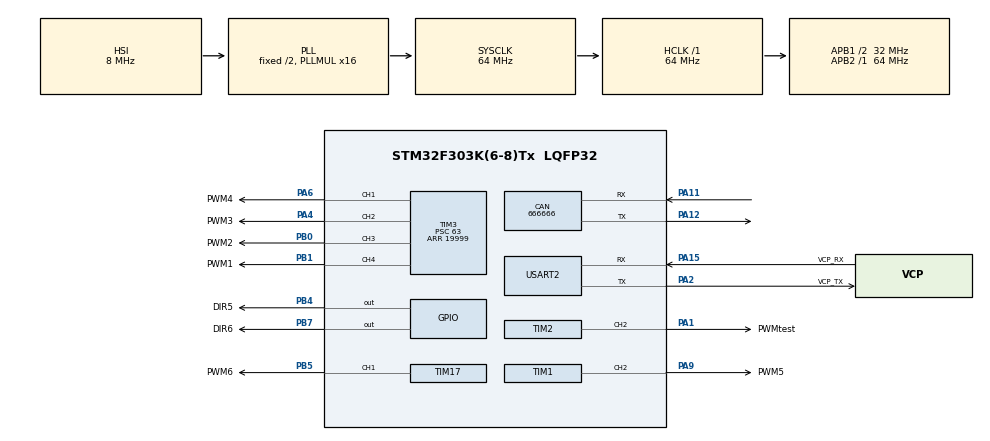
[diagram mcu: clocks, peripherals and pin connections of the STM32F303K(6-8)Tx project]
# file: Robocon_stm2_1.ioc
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CAN.CalculateBaudRate=666666
CAN.CalculateTimeBit=1500
CAN.CalculateTimeQuantum=500.0
Mcu.Family=STM32F3
Mcu.Name=STM32F303K(6-8)Tx
Mcu.Package=LQFP32
NVIC.PriorityGroup=NVIC_PRIORITYGROUP_4
PA1.GPIO_Label=PWMtest
PA1.Signal=S_TIM2_CH2
PA11.Mode=CAN_Activate
PA11.Signal=CAN_RX
PA12.Mode=CAN_Activate
PA12.Signal=CAN_TX
PA13.GPIO_Label=SWDIO
PA13.Mode=Serial_Wire
PA13.Signal=SYS_JTMS-SWDIO
PA14.GPIO_Label=SWCLK
PA14.Mode=Serial_Wire
PA14.Signal=SYS_JTCK-SWCLK
PA15.GPIO_Label=VCP_RX
PA15.Mode=Asynchronous
PA15.Signal=USART2_RX
PA2.GPIO_Label=VCP_TX
PA2.Mode=Asynchronous
PA2.Signal=USART2_TX
PA4.GPIO_Label=PWM3
PA4.Signal=S_TIM3_CH2
PA6.GPIO_Label=PWM4
PA6.Signal=S_TIM3_CH1
PA9.GPIO_Label=PWM5
PA9.Signal=S_TIM1_CH2
PB0.GPIO_Label=PWM2
PB0.Signal=S_TIM3_CH3
PB1.GPIO_Label=PWM1
PB1.Signal=S_TIM3_CH4
PB4.GPIO_Label=DIR5
PB4.Signal=GPIO_Output
PB5.GPIO_Label=PWM6
PB5.Signal=S_TIM17_CH1
PB7.GPIO_Label=DIR6
PB7.Signal=GPIO_Output
PF0\ /\ OSC_IN.GPIO_Label=MCO
PF0\ /\ OSC_IN.Mode=HSE-External-Oscillator
PF0\ /\ OSC_IN.Signal=RCC_OSC_IN
PF1\ /\ OSC_OUT.Mode=HSE-External-Oscillator
PF1\ /\ OSC_OUT.Signal=RCC_OSC_OUT
ProjectManager.HeapSize=0x200
ProjectManager.StackSize=0x400
ProjectManager.TargetToolchain=STM32CubeIDE
RCC.AHBFreq_Value=64000000
RCC.APB1CLKDivider=RCC_HCLK_DIV2
RCC.APB1Freq_Value=32000000
RCC.APB1TimFreq_Value=64000000
RCC.APB2Freq_Value=64000000
RCC.APB2TimFreq_Value=64000000
RCC.CortexFreq_Value=64000000
RCC.HCLKFreq_Value=64000000
RCC.HSE_VALUE=8000000
RCC.HSI_VALUE=8000000
RCC.PLLMUL=RCC_PLL_MUL16
RCC.SYSCLKFreq_VALUE=64000000
RCC.SYSCLKSourceVirtual=RCC_SYSCLKSOURCE_PLLCLK
SH.S_TIM17_CH1.0=TIM17_CH1,PWM Generation1 CH1
SH.S_TIM1_CH2.0=TIM1_CH2,PWM Generation2 CH2
SH.S_TIM2_CH2.0=TIM2_CH2,PWM Generation2 CH2
SH.S_TIM3_CH1.0=TIM3_CH1,PWM Generation1 CH1
SH.S_TIM3_CH2.0=TIM3_CH2,PWM Generation2 CH2
SH.S_TIM3_CH3.0=TIM3_CH3,PWM Generation3 CH3
SH.S_TIM3_CH4.0=TIM3_CH4,PWM Generation4 CH4
TIM1.Channel-PWM\ Generation2\ CH2=TIM_CHANNEL_2
TIM1.Period=19999
TIM1.Prescaler=63
TIM17.Channel=TIM_CHANNEL_1
TIM17.Period=19999
TIM17.Prescaler=63
TIM2.Channel-PWM\ Generation2\ CH2=TIM_CHANNEL_2
TIM2.Period=19999
TIM2.Prescaler=63
TIM3.Channel-PWM\ Generation1\ CH1=TIM_CHANNEL_1
TIM3.Channel-PWM\ Generation2\ CH2=TIM_CHANNEL_2
TIM3.Channel-PWM\ Generation3\ CH3=TIM_CHANNEL_3
TIM3.Channel-PWM\ Generation4\ CH4=TIM_CHANNEL_4
TIM3.Period=19999
TIM3.Prescaler=63
USART2.VirtualMode-Asynchronous=VM_ASYNC
VP_TIM17_VS_ClockSourceINT.Mode=Enable_Timer
VP_TIM1_VS_ClockSourceINT.Mode=Internal
VP_TIM2_VS_ClockSourceINT.Mode=Internal
VP_TIM3_VS_ClockSourceINT.Mode=Internal
board=NUCLEO-F303K8

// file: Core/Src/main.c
/* USER CODE BEGIN Header */
/**
  ******************************************************************************
  * @file           : main.c
  * @brief          : Main program body
  ******************************************************************************
  * @attention
  *
  * Copyright (c) 2025 STMicroelectronics.
  * All rights reserved.
  *
  * This software is licensed under terms that can be found in the LICENSE file
  * in the root directory of this software component.
  * If no LICENSE file comes with this software, it is provided AS-IS.
  *
  ******************************************************************************
  */
/* USER CODE END Header */
#include "main.h"

CAN_HandleTypeDef hcan;

TIM_HandleTypeDef htim1;
TIM_HandleTypeDef htim2;
TIM_HandleTypeDef htim3;
TIM_HandleTypeDef htim17;

UART_HandleTypeDef huart2;

void SystemClock_Config(void);
static void MX_GPIO_Init(void);
static void MX_USART2_UART_Init(void);
static void MX_CAN_Init(void);
static void MX_TIM1_Init(void);
static void MX_TIM2_Init(void);
static void MX_TIM3_Init(void);
static void MX_TIM17_Init(void);

/* USER CODE BEGIN 0 */
int use_data[8];
int id;
void HAL_CAN_RxFifo0MsgPendingCallback(CAN_HandleTypeDef *hcan) {
	CAN_RxHeaderTypeDef RxHeader;//受信メッセージの情報が格納されるインスタンス
	uint8_t RxData[8];//受信したデータを一時保存する配列
	if (HAL_CAN_GetRxMessage(hcan, CAN_RX_FIFO0, &RxHeader, RxData)== HAL_OK) {
		id = RxHeader.StdId; // RxHeaderの中に入っているidを取り出す
		if (id == 0x001){
			for (int i = 0; i <= 7; i++){
    				use_data[i] = RxData[i];
			}
		}
	}
}

int _write(int file, char *ptr, int len)
  {
      HAL_UART_Transmit(&huart2, (uint8_t*)ptr, len, HAL_MAX_DELAY);
      return len;
  }

/* USER CODE END 0 */

int main(void)
{

  /* MCU Configuration--------------------------------------------------------*/

  /* Reset of all peripherals, Initializes the Flash interface and the Systick. */
  HAL_Init();

  /* Configure the system clock */
  SystemClock_Config();

  /* Initialize all configured peripherals */
  MX_GPIO_Init();
  MX_USART2_UART_Init();
  MX_CAN_Init();
  MX_TIM1_Init();
  MX_TIM2_Init();
  MX_TIM3_Init();
  MX_TIM17_Init();
  /* USER CODE BEGIN 2 */
	// CANスタート
	HAL_CAN_Start(&hcan);
	// 割り込み有効
	HAL_CAN_ActivateNotification(&hcan, CAN_IT_RX_FIFO0_MSG_PENDING);
  /* USER CODE END 2 */

  /* Infinite loop */
  while (1)
  {

    /* USER CODE BEGIN 3 */
	  /*
	  __HAL_TIM_SET_COMPARE(&htim1,TIM_CHANNEL_2,500);//PWM5
	  HAL_Delay(2000);
	  __HAL_TIM_SET_COMPARE(&htim1,TIM_CHANNEL_2,2200);
	  HAL_Delay(2000);
	  __HAL_TIM_SET_COMPARE(&htim2,TIM_CHANNEL_2,500);//PWM test
	  HAL_Delay(2000);
	  __HAL_TIM_SET_COMPARE(&htim2,TIM_CHANNEL_2,2200);
	  HAL_Delay(2000);
	  __HAL_TIM_SET_COMPARE(&htim3,TIM_CHANNEL_1,500);//PWM4
	  HAL_Delay(2000);
	  __HAL_TIM_SET_COMPARE(&htim3,TIM_CHANNEL_1,2200);
	  HAL_Delay(2000);
	  __HAL_TIM_SET_COMPARE(&htim3,TIM_CHANNEL_2,500);//PWM3
	  HAL_Delay(2000);
	  __HAL_TIM_SET_COMPARE(&htim3,TIM_CHANNEL_2,2200);
	  HAL_Delay(2000);
	  __HAL_TIM_SET_COMPARE(&htim3,TIM_CHANNEL_3,500);//PWM2
	  HAL_Delay(2000);
	  __HAL_TIM_SET_COMPARE(&htim3,TIM_CHANNEL_3,2200);
	  HAL_Delay(2000);
	  __HAL_TIM_SET_COMPARE(&htim3,TIM_CHANNEL_4,500);//PWM1
	  HAL_Delay(2000);
	  __HAL_TIM_SET_COMPARE(&htim3,TIM_CHANNEL_4,2200);
	  HAL_Delay(2000);
	  __HAL_TIM_SET_COMPARE(&htim17,TIM_CHANNEL_1,500);//PWM6
	  HAL_Delay(2000);
	  __HAL_TIM_SET_COMPARE(&htim17,TIM_CHANNEL_1,2200);
	  HAL_Delay(2000);
	  */
  }
     void HAL_CAN_RxFifo0MsgPendingCallback(CAN_HandleTypeDef *hcan);
     printf("CAN Receiver\r\n");
     //CAN_TX(0x12);
     printf("%d\r\n",use_data[0]);
     printf("%d\r\n",use_data[1]);
     printf("%d\r\n",use_data[2]);
     printf("%d\r\n",use_data[3]);
     printf("%d\r\n",use_data[4]);
     printf("%d\r\n",use_data[5]);
     printf("%d\r\n",use_data[6]);
     printf("%d\r\n",use_data[7]);

     HAL_Delay(500);

     if(use_data[0] = 1){
       __HAL_TIM_SET_COMPARE(&htim1,TIM_CHANNEL_2,500);//PWM5
       HAL_Delay(2000);
       __HAL_TIM_SET_COMPARE(&htim1,TIM_CHANNEL_2,2200);
       HAL_Delay(2000);
     }

     if(use_data[1] = 1){
    	 __HAL_TIM_SET_COMPARE(&htim2,TIM_CHANNEL_2,500);//PWM test
    	 HAL_Delay(2000);
    	 __HAL_TIM_SET_COMPARE(&htim2,TIM_CHANNEL_2,2200);
    	 HAL_Delay(2000);
     }

     if(use_data[2] = 1){
    	 __HAL_TIM_SET_COMPARE(&htim3,TIM_CHANNEL_1,500);//PWM4
    	 HAL_Delay(2000);
    	 __HAL_TIM_SET_COMPARE(&htim3,TIM_CHANNEL_1,2200);
    	 HAL_Delay(2000);
     }

     if(use_data[3] = 1){
    	 __HAL_TIM_SET_COMPARE(&htim3,TIM_CHANNEL_2,500);//PWM3
         HAL_Delay(2000);
    	 __HAL_TIM_SET_COMPARE(&htim3,TIM_CHANNEL_2,2200);
    	 HAL_Delay(2000);
     }

     if(use_data[4] = 1){
    	 __HAL_TIM_SET_COMPARE(&htim3,TIM_CHANNEL_3,500);//PWM2
    	 HAL_Delay(2000);
         __HAL_TIM_SET_COMPARE(&htim3,TIM_CHANNEL_3,2200);
    	 HAL_Delay(2000);
     }

     if(use_data[5] = 1){
    	 __HAL_TIM_SET_COMPARE(&htim3,TIM_CHANNEL_4,500);//PWM1
    	HAL_Delay(2000);
    	 __HAL_TIM_SET_COMPARE(&htim3,TIM_CHANNEL_4,2200);
        HAL_Delay(2000);
     }

     if(use_data[6] = 1){
    	 __HAL_TIM_SET_COMPARE(&htim17,TIM_CHANNEL_1,500);//PWM6
    	 HAL_Delay(2000);
    	 __HAL_TIM_SET_COMPARE(&htim17,TIM_CHANNEL_1,2200);
    	 HAL_Delay(2000);
     }
    	    /* USER CODE BEGIN 3 */

     }

  /* USER CODE END 3 */
}

void SystemClock_Config(void)
{
  RCC_OscInitTypeDef RCC_OscInitStruct = {0};
  RCC_ClkInitTypeDef RCC_ClkInitStruct = {0};
  RCC_PeriphCLKInitTypeDef PeriphClkInit = {0};

  /** Initializes the RCC Oscillators according to the specified parameters
  * in the RCC_OscInitTypeDef structure.
  */
  RCC_OscInitStruct.OscillatorType = RCC_OSCILLATORTYPE_HSI;
  RCC_OscInitStruct.HSIState = RCC_HSI_ON;
  RCC_OscInitStruct.HSICalibrationValue = RCC_HSICALIBRATION_DEFAULT;
  RCC_OscInitStruct.PLL.PLLState = RCC_PLL_ON;
  RCC_OscInitStruct.PLL.PLLSource = RCC_PLLSOURCE_HSI;
  RCC_OscInitStruct.PLL.PLLMUL = RCC_PLL_MUL16;
  if (HAL_RCC_OscConfig(&RCC_OscInitStruct) != HAL_OK)
  {
    Error_Handler();
  }

  /** Initializes the CPU, AHB and APB buses clocks
  */
  RCC_ClkInitStruct.ClockType = RCC_CLOCKTYPE_HCLK|RCC_CLOCKTYPE_SYSCLK
                              |RCC_CLOCKTYPE_PCLK1|RCC_CLOCKTYPE_PCLK2;
  RCC_ClkInitStruct.SYSCLKSource = RCC_SYSCLKSOURCE_PLLCLK;
  RCC_ClkInitStruct.AHBCLKDivider = RCC_SYSCLK_DIV1;
  RCC_ClkInitStruct.APB1CLKDivider = RCC_HCLK_DIV2;
  RCC_ClkInitStruct.APB2CLKDivider = RCC_HCLK_DIV1;

  if (HAL_RCC_ClockConfig(&RCC_ClkInitStruct, FLASH_LATENCY_2) != HAL_OK)
  {
    Error_Handler();
  }
  PeriphClkInit.PeriphClockSelection = RCC_PERIPHCLK_TIM1;
  PeriphClkInit.Tim1ClockSelection = RCC_TIM1CLK_HCLK;
  if (HAL_RCCEx_PeriphCLKConfig(&PeriphClkInit) != HAL_OK)
  {
    Error_Handler();
  }
}

static void MX_CAN_Init(void)
{

  hcan.Instance = CAN;
  hcan.Init.Prescaler = 16;
  hcan.Init.Mode = CAN_MODE_NORMAL;
  hcan.Init.SyncJumpWidth = CAN_SJW_1TQ;
  hcan.Init.TimeSeg1 = CAN_BS1_1TQ;
  hcan.Init.TimeSeg2 = CAN_BS2_1TQ;
  hcan.Init.TimeTriggeredMode = DISABLE;
  hcan.Init.AutoBusOff = DISABLE;
  hcan.Init.AutoWakeUp = DISABLE;
  hcan.Init.AutoRetransmission = DISABLE;
  hcan.Init.ReceiveFifoLocked = DISABLE;
  hcan.Init.TransmitFifoPriority = DISABLE;
  if (HAL_CAN_Init(&hcan) != HAL_OK)
  {
    Error_Handler();
  }
  /* USER CODE BEGIN CAN_Init 2 */
  CAN_FilterTypeDef filter;
  filter.FilterIdHigh         = 0x001 << 5;                  // フィルターID1
  filter.FilterIdLow          = 0x002 << 5;                  // フィルターID2
  filter.FilterMaskIdHigh     = 0x003 << 5;                  // フィルターID3
  filter.FilterMaskIdLow      = 0x004 << 5;    // フィルターID4
  filter.FilterScale          = CAN_FILTERSCALE_16BIT; // 16モード
  filter.FilterFIFOAssignment = CAN_FILTER_FIFO0;      // FIFO0へ格納
  filter.FilterBank           = 0;
  filter.FilterMode           = CAN_FILTERMODE_IDLIST; // IDリストモード
  filter.SlaveStartFilterBank = 14;
  filter.FilterActivation     = ENABLE;

  HAL_CAN_ConfigFilter(&hcan, &filter);

  /* USER CODE END CAN_Init 2 */

}

static void MX_TIM1_Init(void)
{

  TIM_ClockConfigTypeDef sClockSourceConfig = {0};
  TIM_MasterConfigTypeDef sMasterConfig = {0};
  TIM_OC_InitTypeDef sConfigOC = {0};
  TIM_BreakDeadTimeConfigTypeDef sBreakDeadTimeConfig = {0};

  htim1.Instance = TIM1;
  htim1.Init.Prescaler = 63;
  htim1.Init.CounterMode = TIM_COUNTERMODE_UP;
  htim1.Init.Period = 19999;
  htim1.Init.ClockDivision = TIM_CLOCKDIVISION_DIV1;
  htim1.Init.RepetitionCounter = 0;
  htim1.Init.AutoReloadPreload = TIM_AUTORELOAD_PRELOAD_DISABLE;
  if (HAL_TIM_Base_Init(&htim1) != HAL_OK)
  {
    Error_Handler();
  }
  sClockSourceConfig.ClockSource = TIM_CLOCKSOURCE_INTERNAL;
  if (HAL_TIM_ConfigClockSource(&htim1, &sClockSourceConfig) != HAL_OK)
  {
    Error_Handler();
  }
  if (HAL_TIM_PWM_Init(&htim1) != HAL_OK)
  {
    Error_Handler();
  }
  sMasterConfig.MasterOutputTrigger = TIM_TRGO_RESET;
  sMasterConfig.MasterOutputTrigger2 = TIM_TRGO2_RESET;
  sMasterConfig.MasterSlaveMode = TIM_MASTERSLAVEMODE_DISABLE;
  if (HAL_TIMEx_MasterConfigSynchronization(&htim1, &sMasterConfig) != HAL_OK)
  {
    Error_Handler();
  }
  sConfigOC.OCMode = TIM_OCMODE_PWM1;
  sConfigOC.Pulse = 0;
  sConfigOC.OCPolarity = TIM_OCPOLARITY_HIGH;
  sConfigOC.OCNPolarity = TIM_OCNPOLARITY_HIGH;
  sConfigOC.OCFastMode = TIM_OCFAST_DISABLE;
  sConfigOC.OCIdleState = TIM_OCIDLESTATE_RESET;
  sConfigOC.OCNIdleState = TIM_OCNIDLESTATE_RESET;
  if (HAL_TIM_PWM_ConfigChannel(&htim1, &sConfigOC, TIM_CHANNEL_2) != HAL_OK)
  {
    Error_Handler();
  }
  sBreakDeadTimeConfig.OffStateRunMode = TIM_OSSR_DISABLE;
  sBreakDeadTimeConfig.OffStateIDLEMode = TIM_OSSI_DISABLE;
  sBreakDeadTimeConfig.LockLevel = TIM_LOCKLEVEL_OFF;
  sBreakDeadTimeConfig.DeadTime = 0;
  sBreakDeadTimeConfig.BreakState = TIM_BREAK_DISABLE;
  sBreakDeadTimeConfig.BreakPolarity = TIM_BREAKPOLARITY_HIGH;
  sBreakDeadTimeConfig.BreakFilter = 0;
  sBreakDeadTimeConfig.Break2State = TIM_BREAK2_DISABLE;
  sBreakDeadTimeConfig.Break2Polarity = TIM_BREAK2POLARITY_HIGH;
  sBreakDeadTimeConfig.Break2Filter = 0;
  sBreakDeadTimeConfig.AutomaticOutput = TIM_AUTOMATICOUTPUT_DISABLE;
  if (HAL_TIMEx_ConfigBreakDeadTime(&htim1, &sBreakDeadTimeConfig) != HAL_OK)
  {
    Error_Handler();
  }
  HAL_TIM_MspPostInit(&htim1);

}

static void MX_TIM2_Init(void)
{

  TIM_ClockConfigTypeDef sClockSourceConfig = {0};
  TIM_MasterConfigTypeDef sMasterConfig = {0};
  TIM_OC_InitTypeDef sConfigOC = {0};

  htim2.Instance = TIM2;
  htim2.Init.Prescaler = 63;
  htim2.Init.CounterMode = TIM_COUNTERMODE_UP;
  htim2.Init.Period = 19999;
  htim2.Init.ClockDivision = TIM_CLOCKDIVISION_DIV1;
  htim2.Init.AutoReloadPreload = TIM_AUTORELOAD_PRELOAD_DISABLE;
  if (HAL_TIM_Base_Init(&htim2) != HAL_OK)
  {
    Error_Handler();
  }
  sClockSourceConfig.ClockSource = TIM_CLOCKSOURCE_INTERNAL;
  if (HAL_TIM_ConfigClockSource(&htim2, &sClockSourceConfig) != HAL_OK)
  {
    Error_Handler();
  }
  if (HAL_TIM_PWM_Init(&htim2) != HAL_OK)
  {
    Error_Handler();
  }
  sMasterConfig.MasterOutputTrigger = TIM_TRGO_RESET;
  sMasterConfig.MasterSlaveMode = TIM_MASTERSLAVEMODE_DISABLE;
  if (HAL_TIMEx_MasterConfigSynchronization(&htim2, &sMasterConfig) != HAL_OK)
  {
    Error_Handler();
  }
  sConfigOC.OCMode = TIM_OCMODE_PWM1;
  sConfigOC.Pulse = 0;
  sConfigOC.OCPolarity = TIM_OCPOLARITY_HIGH;
  sConfigOC.OCFastMode = TIM_OCFAST_DISABLE;
  if (HAL_TIM_PWM_ConfigChannel(&htim2, &sConfigOC, TIM_CHANNEL_2) != HAL_OK)
  {
    Error_Handler();
  }
  HAL_TIM_MspPostInit(&htim2);

}

static void MX_TIM3_Init(void)
{

  TIM_ClockConfigTypeDef sClockSourceConfig = {0};
  TIM_MasterConfigTypeDef sMasterConfig = {0};
  TIM_OC_InitTypeDef sConfigOC = {0};

  htim3.Instance = TIM3;
  htim3.Init.Prescaler = 63;
  htim3.Init.CounterMode = TIM_COUNTERMODE_UP;
  htim3.Init.Period = 19999;
  htim3.Init.ClockDivision = TIM_CLOCKDIVISION_DIV1;
  htim3.Init.AutoReloadPreload = TIM_AUTORELOAD_PRELOAD_DISABLE;
  if (HAL_TIM_Base_Init(&htim3) != HAL_OK)
  {
    Error_Handler();
  }
  sClockSourceConfig.ClockSource = TIM_CLOCKSOURCE_INTERNAL;
  if (HAL_TIM_ConfigClockSource(&htim3, &sClockSourceConfig) != HAL_OK)
  {
    Error_Handler();
  }
  if (HAL_TIM_PWM_Init(&htim3) != HAL_OK)
  {
    Error_Handler();
  }
  sMasterConfig.MasterOutputTrigger = TIM_TRGO_RESET;
  sMasterConfig.MasterSlaveMode = TIM_MASTERSLAVEMODE_DISABLE;
  if (HAL_TIMEx_MasterConfigSynchronization(&htim3, &sMasterConfig) != HAL_OK)
  {
    Error_Handler();
  }
  sConfigOC.OCMode = TIM_OCMODE_PWM1;
  sConfigOC.Pulse = 0;
  sConfigOC.OCPolarity = TIM_OCPOLARITY_HIGH;
  sConfigOC.OCFastMode = TIM_OCFAST_DISABLE;
  if (HAL_TIM_PWM_ConfigChannel(&htim3, &sConfigOC, TIM_CHANNEL_1) != HAL_OK)
  {
    Error_Handler();
  }
  if (HAL_TIM_PWM_ConfigChannel(&htim3, &sConfigOC, TIM_CHANNEL_2) != HAL_OK)
  {
    Error_Handler();
  }
  if (HAL_TIM_PWM_ConfigChannel(&htim3, &sConfigOC, TIM_CHANNEL_3) != HAL_OK)
  {
    Error_Handler();
  }
  if (HAL_TIM_PWM_ConfigChannel(&htim3, &sConfigOC, TIM_CHANNEL_4) != HAL_OK)
  {
    Error_Handler();
  }
  HAL_TIM_MspPostInit(&htim3);

}

static void MX_TIM17_Init(void)
{

  TIM_OC_InitTypeDef sConfigOC = {0};
  TIM_BreakDeadTimeConfigTypeDef sBreakDeadTimeConfig = {0};

  htim17.Instance = TIM17;
  htim17.Init.Prescaler = 63;
  htim17.Init.CounterMode = TIM_COUNTERMODE_UP;
  htim17.Init.Period = 19999;
  htim17.Init.ClockDivision = TIM_CLOCKDIVISION_DIV1;
  htim17.Init.RepetitionCounter = 0;
  htim17.Init.AutoReloadPreload = TIM_AUTORELOAD_PRELOAD_DISABLE;
  if (HAL_TIM_Base_Init(&htim17) != HAL_OK)
  {
    Error_Handler();
  }
  if (HAL_TIM_PWM_Init(&htim17) != HAL_OK)
  {
    Error_Handler();
  }
  sConfigOC.OCMode = TIM_OCMODE_PWM1;
  sConfigOC.Pulse = 0;
  sConfigOC.OCPolarity = TIM_OCPOLARITY_HIGH;
  sConfigOC.OCNPolarity = TIM_OCNPOLARITY_HIGH;
  sConfigOC.OCFastMode = TIM_OCFAST_DISABLE;
  sConfigOC.OCIdleState = TIM_OCIDLESTATE_RESET;
  sConfigOC.OCNIdleState = TIM_OCNIDLESTATE_RESET;
  if (HAL_TIM_PWM_ConfigChannel(&htim17, &sConfigOC, TIM_CHANNEL_1) != HAL_OK)
  {
    Error_Handler();
  }
  sBreakDeadTimeConfig.OffStateRunMode = TIM_OSSR_DISABLE;
  sBreakDeadTimeConfig.OffStateIDLEMode = TIM_OSSI_DISABLE;
  sBreakDeadTimeConfig.LockLevel = TIM_LOCKLEVEL_OFF;
  sBreakDeadTimeConfig.DeadTime = 0;
  sBreakDeadTimeConfig.BreakState = TIM_BREAK_DISABLE;
  sBreakDeadTimeConfig.BreakPolarity = TIM_BREAKPOLARITY_HIGH;
  sBreakDeadTimeConfig.BreakFilter = 0;
  sBreakDeadTimeConfig.AutomaticOutput = TIM_AUTOMATICOUTPUT_DISABLE;
  if (HAL_TIMEx_ConfigBreakDeadTime(&htim17, &sBreakDeadTimeConfig) != HAL_OK)
  {
    Error_Handler();
  }
  HAL_TIM_MspPostInit(&htim17);

}

static void MX_USART2_UART_Init(void)
{

  huart2.Instance = USART2;
  huart2.Init.BaudRate = 38400;
  huart2.Init.WordLength = UART_WORDLENGTH_8B;
  huart2.Init.StopBits = UART_STOPBITS_1;
  huart2.Init.Parity = UART_PARITY_NONE;
  huart2.Init.Mode = UART_MODE_TX_RX;
  huart2.Init.HwFlowCtl = UART_HWCONTROL_NONE;
  huart2.Init.OverSampling = UART_OVERSAMPLING_16;
  huart2.Init.OneBitSampling = UART_ONE_BIT_SAMPLE_DISABLE;
  huart2.AdvancedInit.AdvFeatureInit = UART_ADVFEATURE_NO_INIT;
  if (HAL_UART_Init(&huart2) != HAL_OK)
  {
    Error_Handler();
  }

}

static void MX_GPIO_Init(void)
{
  GPIO_InitTypeDef GPIO_InitStruct = {0};

  /* GPIO Ports Clock Enable */
  __HAL_RCC_GPIOF_CLK_ENABLE();
  __HAL_RCC_GPIOA_CLK_ENABLE();
  __HAL_RCC_GPIOB_CLK_ENABLE();

  /*Configure GPIO pin Output Level */
  HAL_GPIO_WritePin(GPIOB, DIR5_Pin|DIR6_Pin, GPIO_PIN_RESET);

  /*Configure GPIO pins : DIR5_Pin DIR6_Pin */
  GPIO_InitStruct.Pin = DIR5_Pin|DIR6_Pin;
  GPIO_InitStruct.Mode = GPIO_MODE_OUTPUT_PP;
  GPIO_InitStruct.Pull = GPIO_NOPULL;
  GPIO_InitStruct.Speed = GPIO_SPEED_FREQ_LOW;
  HAL_GPIO_Init(GPIOB, &GPIO_InitStruct);

}

void Error_Handler(void)
{
  __disable_irq();
  while (1)
  {
  }
}
